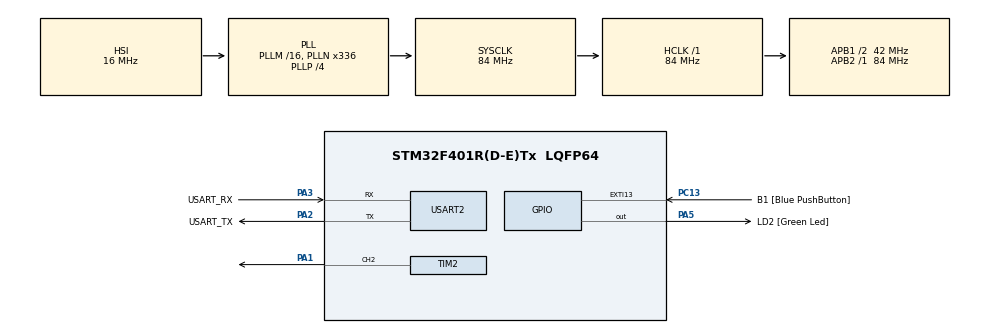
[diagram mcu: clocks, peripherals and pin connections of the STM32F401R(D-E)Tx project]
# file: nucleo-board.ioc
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Mcu.Family=STM32F4
Mcu.Name=STM32F401R(D-E)Tx
Mcu.Package=LQFP64
NVIC.PriorityGroup=NVIC_PRIORITYGROUP_4
PA1.Signal=S_TIM2_CH2
PA13.GPIO_Label=TMS
PA13.Mode=Trace_Asynchronous_SW
PA13.Signal=SYS_JTMS-SWDIO
PA14.GPIO_Label=TCK
PA14.Mode=Trace_Asynchronous_SW
PA14.Signal=SYS_JTCK-SWCLK
PA2.GPIO_Label=USART_TX
PA2.GPIO_Mode=GPIO_MODE_AF_PP
PA2.GPIO_PuPd=GPIO_NOPULL
PA2.GPIO_Speed=GPIO_SPEED_FREQ_LOW
PA2.Mode=Asynchronous
PA2.Signal=USART2_TX
PA3.GPIO_Label=USART_RX
PA3.GPIO_Mode=GPIO_MODE_AF_PP
PA3.GPIO_PuPd=GPIO_NOPULL
PA3.GPIO_Speed=GPIO_SPEED_FREQ_LOW
PA3.Mode=Asynchronous
PA3.Signal=USART2_RX
PA5.GPIO_Label=LD2 [Green Led]
PA5.GPIO_Mode=GPIO_MODE_OUTPUT_PP
PA5.GPIO_PuPd=GPIO_NOPULL
PA5.GPIO_Speed=GPIO_SPEED_FREQ_LOW
PA5.Signal=GPIO_Output
PB3.GPIO_Label=SWO
PB3.Mode=Trace_Asynchronous_SW
PB3.Signal=SYS_JTDO-SWO
PC13-ANTI_TAMP.GPIO_Label=B1 [Blue PushButton]
PC13-ANTI_TAMP.GPIO_ModeDefaultEXTI=GPIO_MODE_IT_FALLING
PC13-ANTI_TAMP.GPIO_PuPd=GPIO_NOPULL
PC13-ANTI_TAMP.Signal=GPXTI13
PC14-OSC32_IN.Mode=LSE-External-Oscillator
PC14-OSC32_IN.Signal=RCC_OSC32_IN
PC15-OSC32_OUT.Mode=LSE-External-Oscillator
PC15-OSC32_OUT.Signal=RCC_OSC32_OUT
PH0\ -\ OSC_IN.Mode=HSE-External-Clock-Source
PH0\ -\ OSC_IN.Signal=RCC_OSC_IN
PH1\ -\ OSC_OUT.Mode=HSE-External-Clock-Source
PH1\ -\ OSC_OUT.Signal=RCC_OSC_OUT
ProjectManager.HeapSize=0x200
ProjectManager.StackSize=0x400
ProjectManager.TargetToolchain=STM32CubeIDE
RCC.48MHZClocksFreq_Value=48000000
RCC.AHBFreq_Value=84000000
RCC.APB1CLKDivider=RCC_HCLK_DIV2
RCC.APB1Freq_Value=42000000
RCC.APB1TimFreq_Value=84000000
RCC.APB2Freq_Value=84000000
RCC.APB2TimFreq_Value=84000000
RCC.CortexFreq_Value=84000000
RCC.HCLKFreq_Value=84000000
RCC.HSE_VALUE=8000000
RCC.HSI_VALUE=16000000
RCC.PLLN=336
RCC.PLLP=RCC_PLLP_DIV4
RCC.PLLQ=7
RCC.SYSCLKFreq_VALUE=84000000
RCC.SYSCLKSource=RCC_SYSCLKSOURCE_PLLCLK
RCC.VCOOutputFreq_Value=336000000
SH.S_TIM2_CH2.0=TIM2_CH2,PWM Generation2 CH2
TIM2.Channel-PWM\ Generation2\ CH2=TIM_CHANNEL_2
TIM2.Period=19999
TIM2.Prescaler=83
TIM2.Pulse-PWM\ Generation2\ CH2=1500
USART2.VirtualMode=VM_ASYNC
board=NUCLEO-F401RE

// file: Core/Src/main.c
/* USER CODE BEGIN Header */
/**
  ******************************************************************************
  * @file           : main.c
  * @brief          : Main program body
  ******************************************************************************
  * @attention
  *
  * Copyright (c) 2025 STMicroelectronics.
  * All rights reserved.
  *
  * This software is licensed under terms that can be found in the LICENSE file
  * in the root directory of this software component.
  * If no LICENSE file comes with this software, it is provided AS-IS.
  *
  ******************************************************************************
  */
/* USER CODE END Header */
#include <Servomotor.h>
#include "main.h"

/* USER CODE BEGIN Includes */
#include "logger.h"
/* USER CODE END Includes */

TIM_HandleTypeDef htim2;

UART_HandleTypeDef huart2;

/* USER CODE BEGIN PV */
UART_HandleTypeDef* get_huart2 () {
	return &huart2;
}
/* USER CODE END PV */

void SystemClock_Config(void);
static void MX_GPIO_Init(void);
static void MX_USART2_UART_Init(void);
static void MX_TIM2_Init(void);

int main(void)
{

  /* MCU Configuration--------------------------------------------------------*/

  /* Reset of all peripherals, Initializes the Flash interface and the Systick. */
  HAL_Init();

  /* Configure the system clock */
  SystemClock_Config();

  /* Initialize all configured peripherals */
  MX_GPIO_Init();
  MX_USART2_UART_Init();
  MX_TIM2_Init();
  /* USER CODE BEGIN 2 */
  log_info("Main", "Starting PWM on TIMER 2, CHANNEL 2");

  PulseRange pulseRange;
  pulseRange.min = 500;
  pulseRange.max = 2500;
  AngleRange angleRange;
  angleRange.min = 0;
  angleRange.base = 0;
  angleRange.max = 270;
  Servomotor motor = createServomotor(
		  &htim2, TIM_CHANNEL_2, pulseRange, angleRange);
  initServomotor(&motor);
  startServomotor(&motor);
  /* USER CODE END 2 */

  /* Infinite loop */
  /* USER CODE BEGIN WHILE */
  while (1)
  {
	log_info("Main", "Moving to position 500");
	setAngle(&motor, 0);
	HAL_Delay(2000); // Wait 2 seconds

	log_info("Main", "Moving to position 1500");
	setAngle(&motor, 135);
	HAL_Delay(2000); // Wait 2 seconds

	log_info("Main", "Moving to position 2500");
	setAngle(&motor, 270);
	HAL_Delay(4000); // Wait 2 seconds
    /* USER CODE END WHILE */

  }
}

void SystemClock_Config(void)
{
  RCC_OscInitTypeDef RCC_OscInitStruct = {0};
  RCC_ClkInitTypeDef RCC_ClkInitStruct = {0};

  /** Configure the main internal regulator output voltage
  */
  __HAL_RCC_PWR_CLK_ENABLE();
  __HAL_PWR_VOLTAGESCALING_CONFIG(PWR_REGULATOR_VOLTAGE_SCALE2);

  /** Initializes the RCC Oscillators according to the specified parameters
  * in the RCC_OscInitTypeDef structure.
  */
  RCC_OscInitStruct.OscillatorType = RCC_OSCILLATORTYPE_HSI;
  RCC_OscInitStruct.HSIState = RCC_HSI_ON;
  RCC_OscInitStruct.HSICalibrationValue = RCC_HSICALIBRATION_DEFAULT;
  RCC_OscInitStruct.PLL.PLLState = RCC_PLL_ON;
  RCC_OscInitStruct.PLL.PLLSource = RCC_PLLSOURCE_HSI;
  RCC_OscInitStruct.PLL.PLLM = 16;
  RCC_OscInitStruct.PLL.PLLN = 336;
  RCC_OscInitStruct.PLL.PLLP = RCC_PLLP_DIV4;
  RCC_OscInitStruct.PLL.PLLQ = 7;
  if (HAL_RCC_OscConfig(&RCC_OscInitStruct) != HAL_OK)
  {
    Error_Handler();
  }

  /** Initializes the CPU, AHB and APB buses clocks
  */
  RCC_ClkInitStruct.ClockType = RCC_CLOCKTYPE_HCLK|RCC_CLOCKTYPE_SYSCLK
                              |RCC_CLOCKTYPE_PCLK1|RCC_CLOCKTYPE_PCLK2;
  RCC_ClkInitStruct.SYSCLKSource = RCC_SYSCLKSOURCE_PLLCLK;
  RCC_ClkInitStruct.AHBCLKDivider = RCC_SYSCLK_DIV1;
  RCC_ClkInitStruct.APB1CLKDivider = RCC_HCLK_DIV2;
  RCC_ClkInitStruct.APB2CLKDivider = RCC_HCLK_DIV1;

  if (HAL_RCC_ClockConfig(&RCC_ClkInitStruct, FLASH_LATENCY_2) != HAL_OK)
  {
    Error_Handler();
  }
}

static void MX_TIM2_Init(void)
{

  TIM_MasterConfigTypeDef sMasterConfig = {0};
  TIM_OC_InitTypeDef sConfigOC = {0};

  htim2.Instance = TIM2;
  htim2.Init.Prescaler = 83;
  htim2.Init.CounterMode = TIM_COUNTERMODE_UP;
  htim2.Init.Period = 19999;
  htim2.Init.ClockDivision = TIM_CLOCKDIVISION_DIV1;
  htim2.Init.AutoReloadPreload = TIM_AUTORELOAD_PRELOAD_DISABLE;
  if (HAL_TIM_PWM_Init(&htim2) != HAL_OK)
  {
    Error_Handler();
  }
  sMasterConfig.MasterOutputTrigger = TIM_TRGO_RESET;
  sMasterConfig.MasterSlaveMode = TIM_MASTERSLAVEMODE_DISABLE;
  if (HAL_TIMEx_MasterConfigSynchronization(&htim2, &sMasterConfig) != HAL_OK)
  {
    Error_Handler();
  }
  sConfigOC.OCMode = TIM_OCMODE_PWM1;
  sConfigOC.Pulse = 1500;
  sConfigOC.OCPolarity = TIM_OCPOLARITY_HIGH;
  sConfigOC.OCFastMode = TIM_OCFAST_DISABLE;
  if (HAL_TIM_PWM_ConfigChannel(&htim2, &sConfigOC, TIM_CHANNEL_2) != HAL_OK)
  {
    Error_Handler();
  }
  HAL_TIM_MspPostInit(&htim2);

}

static void MX_USART2_UART_Init(void)
{

  huart2.Instance = USART2;
  huart2.Init.BaudRate = 115200;
  huart2.Init.WordLength = UART_WORDLENGTH_8B;
  huart2.Init.StopBits = UART_STOPBITS_1;
  huart2.Init.Parity = UART_PARITY_NONE;
  huart2.Init.Mode = UART_MODE_TX_RX;
  huart2.Init.HwFlowCtl = UART_HWCONTROL_NONE;
  huart2.Init.OverSampling = UART_OVERSAMPLING_16;
  if (HAL_UART_Init(&huart2) != HAL_OK)
  {
    Error_Handler();
  }

}

static void MX_GPIO_Init(void)
{
  GPIO_InitTypeDef GPIO_InitStruct = {0};

  /* GPIO Ports Clock Enable */
  __HAL_RCC_GPIOC_CLK_ENABLE();
  __HAL_RCC_GPIOH_CLK_ENABLE();
  __HAL_RCC_GPIOA_CLK_ENABLE();
  __HAL_RCC_GPIOB_CLK_ENABLE();

  /*Configure GPIO pin Output Level */
  HAL_GPIO_WritePin(LD2_GPIO_Port, LD2_Pin, GPIO_PIN_RESET);

  /*Configure GPIO pin : B1_Pin */
  GPIO_InitStruct.Pin = B1_Pin;
  GPIO_InitStruct.Mode = GPIO_MODE_IT_FALLING;
  GPIO_InitStruct.Pull = GPIO_NOPULL;
  HAL_GPIO_Init(B1_GPIO_Port, &GPIO_InitStruct);

  /*Configure GPIO pin : LD2_Pin */
  GPIO_InitStruct.Pin = LD2_Pin;
  GPIO_InitStruct.Mode = GPIO_MODE_OUTPUT_PP;
  GPIO_InitStruct.Pull = GPIO_NOPULL;
  GPIO_InitStruct.Speed = GPIO_SPEED_FREQ_LOW;
  HAL_GPIO_Init(LD2_GPIO_Port, &GPIO_InitStruct);

}

void Error_Handler(void)
{
  /* USER CODE BEGIN Error_Handler_Debug */
  /* User can add his own implementation to report the HAL error return state */
  __disable_irq();
  while (1)
  {
	  printf("Hello, Nucleo-32!\n");
	  HAL_Delay(1000);
  }
  /* USER CODE END Error_Handler_Debug */
}
